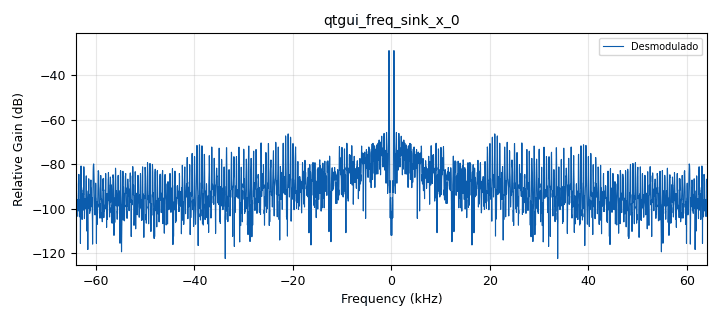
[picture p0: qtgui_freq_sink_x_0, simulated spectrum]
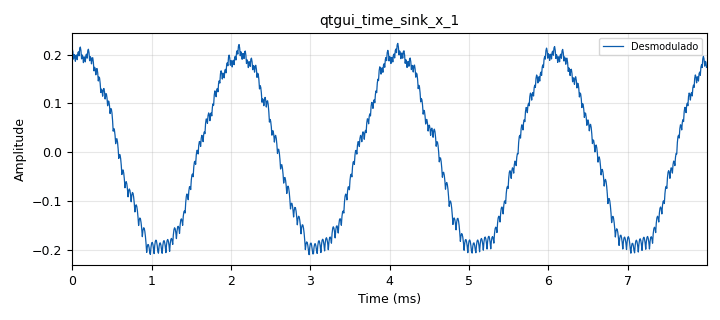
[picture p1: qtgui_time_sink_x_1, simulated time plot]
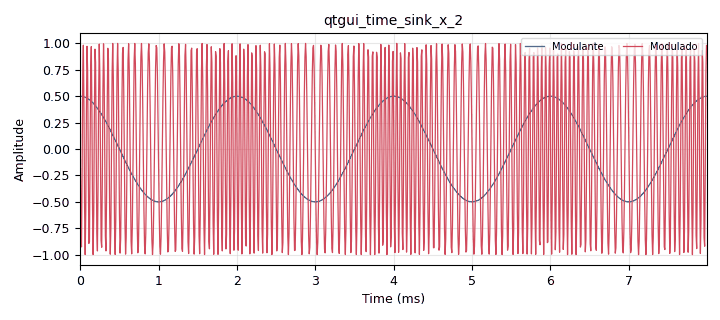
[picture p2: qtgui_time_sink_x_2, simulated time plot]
options:
  parameters:
    category: Custom
    generate_options: qt_gui
    id: Labo4_3
    output_language: python
    title: Desmodulacao com PLL
  states: {}

blocks:
- name: samp_rate
  id: variable
  parameters:
    value: 32000*4
  states: {}
- name: analog_pll_freqdet_cf_0
  id: analog_pll_freqdet_cf
  parameters:
    max_freq: 2*3.1416*30000/samp_rate
    min_freq: 2*3.1416*10000/samp_rate
    w: 3.1416/60
  states: {}
- name: analog_sig_source_x_0
  id: analog_sig_source_x
  parameters:
    amp: '0.5'
    freq: '500'
    offset: '0'
    phase: '0'
    samp_rate: samp_rate
    type: float
    waveform: analog.GR_SIN_WAVE
  states: {}
- name: blocks_add_const_vxx_0
  id: blocks_add_const_vxx
  parameters:
    const: '1.5'
    type: float
  states: {}
- name: blocks_float_to_complex_0
  id: blocks_float_to_complex
  parameters: {}
  states: {}
- name: blocks_throttle_0
  id: blocks_throttle
  parameters:
    samples_per_second: samp_rate
    type: float
  states: {}
- name: blocks_vco_f_0
  id: blocks_vco_f
  parameters:
    amplitude: '1'
    samp_rate: samp_rate
    sensitivity: 6.28*10**4
  states: {}
- name: dc_blocker_xx_0
  id: dc_blocker_xx
  parameters:
    length: '128'
    long_form: 'True'
    type: ff
  states: {}
- name: qtgui_freq_sink_x_0
  id: qtgui_freq_sink_x
  parameters:
    autoscale: 'True'
    bw: samp_rate
    fc: '0'
    fftsize: 1024*4
    grid: 'True'
    label1: Desmodulado
    name: ''
    showports: 'True'
    type: float
  states: {}
- name: qtgui_time_sink_x_1
  id: qtgui_time_sink_x
  parameters:
    autoscale: 'True'
    grid: 'True'
    label1: Desmodulado
    name: ''
    size: '1024'
    srate: samp_rate
    type: float
  states: {}
- name: qtgui_time_sink_x_2
  id: qtgui_time_sink_x
  parameters:
    autoscale: 'True'
    entags: 'False'
    label1: Modulante
    label2: Modulado
    name: ''
    nconnections: '2'
    size: '1024'
    srate: samp_rate
    type: float
  states: {}

connections:
- [analog_pll_freqdet_cf_0, '0', dc_blocker_xx_0, '0']
- [analog_sig_source_x_0, '0', blocks_throttle_0, '0']
- [blocks_add_const_vxx_0, '0', blocks_vco_f_0, '0']
- [blocks_float_to_complex_0, '0', analog_pll_freqdet_cf_0, '0']
- [blocks_throttle_0, '0', blocks_add_const_vxx_0, '0']
- [blocks_throttle_0, '0', qtgui_time_sink_x_2, '0']
- [blocks_vco_f_0, '0', blocks_float_to_complex_0, '0']
- [blocks_vco_f_0, '0', qtgui_time_sink_x_2, '1']
- [dc_blocker_xx_0, '0', qtgui_freq_sink_x_0, '0']
- [dc_blocker_xx_0, '0', qtgui_time_sink_x_1, '0']

metadata:
  file_format: 1
  grc_version: 3.10.4.0
